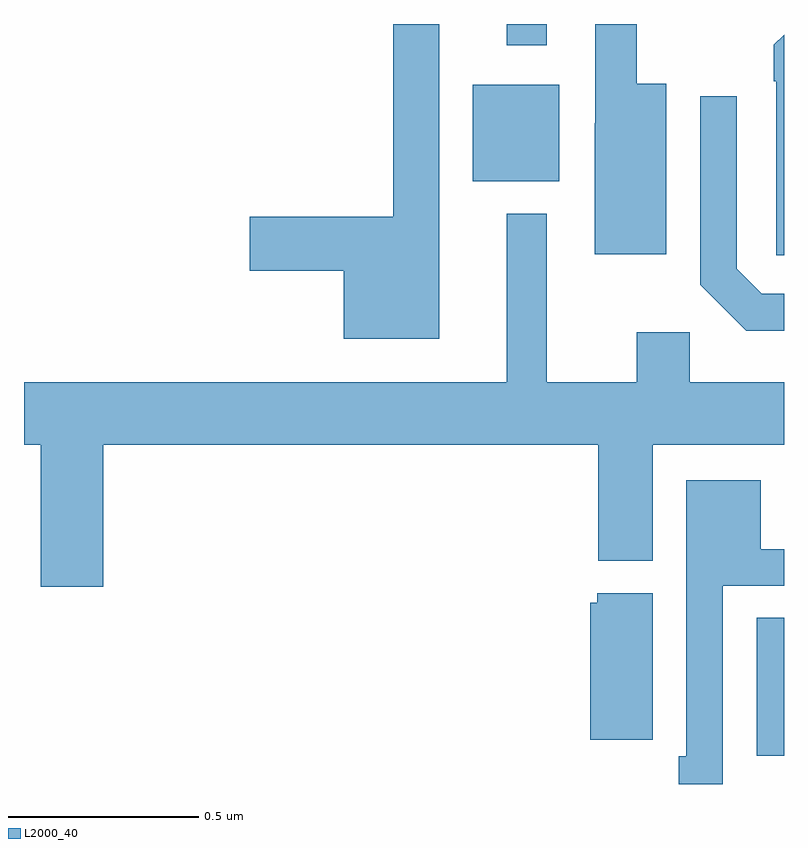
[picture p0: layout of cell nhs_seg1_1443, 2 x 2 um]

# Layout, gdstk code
import gdstk
lib = gdstk.Library(unit=1e-6, precision=1e-09)
def R(c, l, rs):  # rectangles x0, y0, x1, y1
    for r in rs: c.add(gdstk.rectangle(r[:2], r[2:], *l))
def P(c, l, *ps):  # polygons
    for p in ps: c.add(gdstk.Polygon(p, *l))
L2000_40 = (2000, 40)

nhs_seg1_1443 = lib.new_cell('nhs_seg1_1443')
R(nhs_seg1_1443, L2000_40, [(130.928,524.274,131,524.636), (130.181,525.785,130.408,526.039), (130.271,526.143,130.375,526.199)])
P(nhs_seg1_1443, L2000_40, [(130.093,526.199),(129.972,526.199),(129.972,525.692),(129.594,525.692),(129.594,525.55),(129.842,525.55),(129.842,525.371),(130.093,525.371)],
  [(130.69,526.042),(130.612,526.042),(130.612,526.199),(130.503,526.199),(130.503,525.938),(130.502,525.938),(130.502,525.593),(130.69,525.593)],
  [(131,526.171),(130.973,526.144),(130.973,526.049),(130.98,526.049),(130.98,525.591),(131,525.591)],
  [(131,525.489),(130.941,525.489),(130.875,525.555),(130.875,526.009),(130.779,526.009),(130.779,525.513),(130.9,525.392),(131,525.392)],
  [(129.208,525.092),(130.511,525.092),(130.511,524.786),(130.654,524.786),(130.654,525.092),(131,525.092),(131,525.256),(130.752,525.256),(130.752,525.388),(130.613,525.388),(130.613,525.256),(130.375,525.256),(130.375,525.7),(130.271,525.7),(130.271,525.256),(129,525.256),(129,525.092),(129.044,525.092),(129.044,524.718),(129.208,524.718)],
  [(130.839,524.721),(131,524.721),(131,524.817),(130.939,524.817),(130.939,524.998),(130.743,524.998),(130.743,524.272),(130.723,524.272),(130.723,524.199),(130.839,524.199)],
  [(130.654,524.701),(130.509,524.701),(130.509,524.676),(130.49,524.676),(130.49,524.315),(130.654,524.315)])

lib.write_gds('nhs_seg1_1443.gds')
